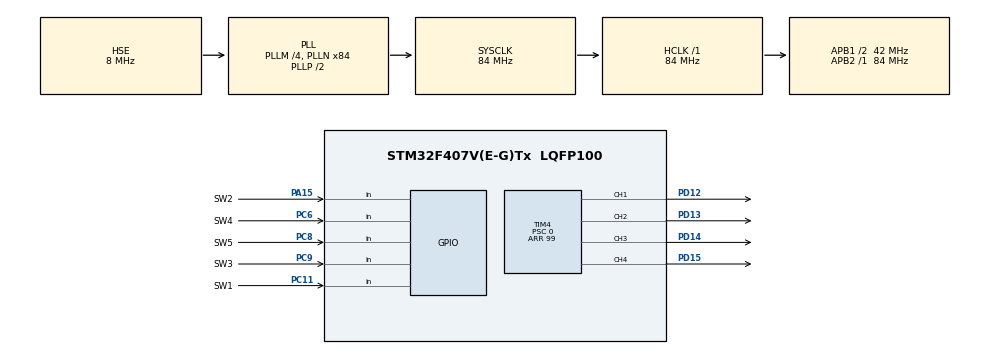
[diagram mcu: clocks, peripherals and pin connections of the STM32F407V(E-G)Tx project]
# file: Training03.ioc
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Mcu.Family=STM32F4
Mcu.Name=STM32F407V(E-G)Tx
Mcu.Package=LQFP100
NVIC.PriorityGroup=NVIC_PRIORITYGROUP_4
PA15.GPIO_Label=SW2
PA15.GPIO_PuPd=GPIO_PULLUP
PA15.Signal=GPIO_Input
PC11.GPIO_Label=SW1
PC11.GPIO_PuPd=GPIO_PULLUP
PC11.Signal=GPIO_Input
PC6.GPIO_Label=SW4
PC6.GPIO_PuPd=GPIO_PULLUP
PC6.Signal=GPIO_Input
PC8.GPIO_Label=SW5
PC8.GPIO_PuPd=GPIO_PULLUP
PC8.Signal=GPIO_Input
PC9.GPIO_Label=SW3
PC9.GPIO_PuPd=GPIO_PULLUP
PC9.Signal=GPIO_Input
PD12.GPIO_PuPd=GPIO_PULLDOWN
PD12.GPIO_Speed=GPIO_SPEED_FREQ_LOW
PD12.Signal=S_TIM4_CH1
PD13.GPIO_PuPd=GPIO_PULLDOWN
PD13.GPIO_Speed=GPIO_SPEED_FREQ_LOW
PD13.Signal=S_TIM4_CH2
PD14.GPIO_PuPd=GPIO_PULLDOWN
PD14.GPIO_Speed=GPIO_SPEED_FREQ_LOW
PD14.Signal=S_TIM4_CH3
PD15.GPIO_PuPd=GPIO_PULLDOWN
PD15.GPIO_Speed=GPIO_SPEED_FREQ_LOW
PD15.Signal=S_TIM4_CH4
PH0-OSC_IN.Mode=HSE-External-Oscillator
PH0-OSC_IN.Signal=RCC_OSC_IN
PH1-OSC_OUT.Mode=HSE-External-Oscillator
PH1-OSC_OUT.Signal=RCC_OSC_OUT
ProjectManager.HeapSize=0x200
ProjectManager.StackSize=0x400
ProjectManager.TargetToolchain=STM32CubeIDE
RCC.48MHZClocksFreq_Value=42000000
RCC.AHBFreq_Value=84000000
RCC.APB1CLKDivider=RCC_HCLK_DIV2
RCC.APB1Freq_Value=42000000
RCC.APB1TimFreq_Value=84000000
RCC.APB2Freq_Value=84000000
RCC.APB2TimFreq_Value=84000000
RCC.CortexFreq_Value=84000000
RCC.HCLKFreq_Value=84000000
RCC.HSE_VALUE=8000000
RCC.HSI_VALUE=16000000
RCC.LSE_VALUE=32768
RCC.PLLM=4
RCC.PLLN=84
RCC.PLLSourceVirtual=RCC_PLLSOURCE_HSE
RCC.SYSCLKFreq_VALUE=84000000
RCC.SYSCLKSource=RCC_SYSCLKSOURCE_PLLCLK
RCC.VCOOutputFreq_Value=168000000
SH.S_TIM4_CH1.0=TIM4_CH1,PWM Generation1 CH1
SH.S_TIM4_CH2.0=TIM4_CH2,PWM Generation2 CH2
SH.S_TIM4_CH3.0=TIM4_CH3,PWM Generation3 CH3
SH.S_TIM4_CH4.0=TIM4_CH4,PWM Generation4 CH4
TIM4.Channel-PWM\ Generation1\ CH1=TIM_CHANNEL_1
TIM4.Channel-PWM\ Generation2\ CH2=TIM_CHANNEL_2
TIM4.Channel-PWM\ Generation3\ CH3=TIM_CHANNEL_3
TIM4.Channel-PWM\ Generation4\ CH4=TIM_CHANNEL_4
TIM4.OCPolarity_1=TIM_OCPOLARITY_HIGH
TIM4.OCPolarity_2=TIM_OCPOLARITY_HIGH
TIM4.OCPolarity_3=TIM_OCPOLARITY_HIGH
TIM4.OCPolarity_4=TIM_OCPOLARITY_HIGH
TIM4.Period=99
TIM4.Prescaler=0
TIM4.Pulse-PWM\ Generation2\ CH2=0
TIM4.Pulse-PWM\ Generation3\ CH3=0
TIM4.Pulse-PWM\ Generation4\ CH4=0
VP_TIM4_VS_ClockSourceINT.Mode=Internal
board=custom

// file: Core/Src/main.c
/* USER CODE BEGIN Header */
/**
  ******************************************************************************
  * @file           : main.c
  * @brief          : Main program body
  ******************************************************************************
  * @attention
  *
  * Copyright (c) 2023 STMicroelectronics.
  * All rights reserved.
  *
  * This software is licensed under terms that can be found in the LICENSE file
  * in the root directory of this software component.
  * If no LICENSE file comes with this software, it is provided AS-IS.
  *
  ******************************************************************************
  */
/* USER CODE END Header */
#include "main.h"

/* USER CODE BEGIN Includes */
#include "pwm.h"
/* USER CODE END Includes */

/* USER CODE BEGIN PD */
#define FREQ_MIN 0      //0kHz, there is not any generation
#define FREQ_MAX 100000 //100kHz
#define TMR4_FREQUENCY 84000000 //depends on clock settings
#define PRESS_NUM 100   //less than 1024!! (the time we have to press a button)
/* USER CODE END PD */

TIM_HandleTypeDef htim4;

/* USER CODE BEGIN PV */
const uint32_t FREQMIN=FREQ_MIN;             //PWM parameter
const uint32_t FREQMAX=FREQ_MAX;             //PWM parameter
const uint32_t TMR4FREQUENCY=TMR4_FREQUENCY; //frequency of tim4 clock
const uint32_t PRESSNUM=PRESS_NUM;
PWM TIMERSETTINGS;                           //this structure contains PWM settings
PWM* pTIMERSETTINGS=&TIMERSETTINGS;          //pointer
/* USER CODE END PV */

void SystemClock_Config(void);
static void MX_GPIO_Init(void);
static void MX_TIM4_Init(void);

int main(void)
{

  /* MCU Configuration--------------------------------------------------------*/

  /* Reset of all peripherals, Initializes the Flash interface and the Systick. */
  HAL_Init();

  /* Configure the system clock */
  SystemClock_Config();

  /* Initialize all configured peripherals */
  MX_GPIO_Init();
  MX_TIM4_Init();

  /* Infinite loop */
  /* USER CODE BEGIN WHILE */
/*------------Default PWM setup-----------------*/
  TIMERSETTINGS.Channel=TIM_CHANNEL_1;
  TIMERSETTINGS.Frequency=50000;
  TIMERSETTINGS.DutyCycle=50;
  {
  uint16_t ARRvalue=(uint16_t)(TMR4FREQUENCY/pTIMERSETTINGS->Frequency)-1;
  uint32_t CCRvalue=(uint16_t)(((pTIMERSETTINGS->DutyCycle)*(ARRvalue+1))/100);
  TIM4->ARR=ARRvalue;
  TIM4->CCR1=CCRvalue;
  HAL_TIM_PWM_Start(&htim4, pTIMERSETTINGS->Channel);
  } //the end of default PWM setup
  while (1)
  {
	  ButtonsHandler(htim4);
    /* USER CODE END WHILE */

  }
}

void SystemClock_Config(void)
{
  RCC_OscInitTypeDef RCC_OscInitStruct = {0};
  RCC_ClkInitTypeDef RCC_ClkInitStruct = {0};

  /** Configure the main internal regulator output voltage
  */
  __HAL_RCC_PWR_CLK_ENABLE();
  __HAL_PWR_VOLTAGESCALING_CONFIG(PWR_REGULATOR_VOLTAGE_SCALE1);

  /** Initializes the RCC Oscillators according to the specified parameters
  * in the RCC_OscInitTypeDef structure.
  */
  RCC_OscInitStruct.OscillatorType = RCC_OSCILLATORTYPE_HSE;
  RCC_OscInitStruct.HSEState = RCC_HSE_ON;
  RCC_OscInitStruct.PLL.PLLState = RCC_PLL_ON;
  RCC_OscInitStruct.PLL.PLLSource = RCC_PLLSOURCE_HSE;
  RCC_OscInitStruct.PLL.PLLM = 4;
  RCC_OscInitStruct.PLL.PLLN = 84;
  RCC_OscInitStruct.PLL.PLLP = RCC_PLLP_DIV2;
  RCC_OscInitStruct.PLL.PLLQ = 4;
  if (HAL_RCC_OscConfig(&RCC_OscInitStruct) != HAL_OK)
  {
    Error_Handler();
  }

  /** Initializes the CPU, AHB and APB buses clocks
  */
  RCC_ClkInitStruct.ClockType = RCC_CLOCKTYPE_HCLK|RCC_CLOCKTYPE_SYSCLK
                              |RCC_CLOCKTYPE_PCLK1|RCC_CLOCKTYPE_PCLK2;
  RCC_ClkInitStruct.SYSCLKSource = RCC_SYSCLKSOURCE_PLLCLK;
  RCC_ClkInitStruct.AHBCLKDivider = RCC_SYSCLK_DIV1;
  RCC_ClkInitStruct.APB1CLKDivider = RCC_HCLK_DIV2;
  RCC_ClkInitStruct.APB2CLKDivider = RCC_HCLK_DIV1;

  if (HAL_RCC_ClockConfig(&RCC_ClkInitStruct, FLASH_LATENCY_2) != HAL_OK)
  {
    Error_Handler();
  }
}

static void MX_TIM4_Init(void)
{

  TIM_ClockConfigTypeDef sClockSourceConfig = {0};
  TIM_MasterConfigTypeDef sMasterConfig = {0};
  TIM_OC_InitTypeDef sConfigOC = {0};

  htim4.Instance = TIM4;
  htim4.Init.Prescaler = 0;
  htim4.Init.CounterMode = TIM_COUNTERMODE_UP;
  htim4.Init.Period = 99;
  htim4.Init.ClockDivision = TIM_CLOCKDIVISION_DIV1;
  htim4.Init.AutoReloadPreload = TIM_AUTORELOAD_PRELOAD_DISABLE;
  if (HAL_TIM_Base_Init(&htim4) != HAL_OK)
  {
    Error_Handler();
  }
  sClockSourceConfig.ClockSource = TIM_CLOCKSOURCE_INTERNAL;
  if (HAL_TIM_ConfigClockSource(&htim4, &sClockSourceConfig) != HAL_OK)
  {
    Error_Handler();
  }
  if (HAL_TIM_PWM_Init(&htim4) != HAL_OK)
  {
    Error_Handler();
  }
  sMasterConfig.MasterOutputTrigger = TIM_TRGO_RESET;
  sMasterConfig.MasterSlaveMode = TIM_MASTERSLAVEMODE_DISABLE;
  if (HAL_TIMEx_MasterConfigSynchronization(&htim4, &sMasterConfig) != HAL_OK)
  {
    Error_Handler();
  }
  sConfigOC.OCMode = TIM_OCMODE_PWM1;
  sConfigOC.Pulse = 0;
  sConfigOC.OCPolarity = TIM_OCPOLARITY_HIGH;
  sConfigOC.OCFastMode = TIM_OCFAST_DISABLE;
  if (HAL_TIM_PWM_ConfigChannel(&htim4, &sConfigOC, TIM_CHANNEL_1) != HAL_OK)
  {
    Error_Handler();
  }
  if (HAL_TIM_PWM_ConfigChannel(&htim4, &sConfigOC, TIM_CHANNEL_2) != HAL_OK)
  {
    Error_Handler();
  }
  if (HAL_TIM_PWM_ConfigChannel(&htim4, &sConfigOC, TIM_CHANNEL_3) != HAL_OK)
  {
    Error_Handler();
  }
  if (HAL_TIM_PWM_ConfigChannel(&htim4, &sConfigOC, TIM_CHANNEL_4) != HAL_OK)
  {
    Error_Handler();
  }
  HAL_TIM_MspPostInit(&htim4);

}

static void MX_GPIO_Init(void)
{
  GPIO_InitTypeDef GPIO_InitStruct = {0};

  /* GPIO Ports Clock Enable */
  __HAL_RCC_GPIOH_CLK_ENABLE();
  __HAL_RCC_GPIOD_CLK_ENABLE();
  __HAL_RCC_GPIOC_CLK_ENABLE();
  __HAL_RCC_GPIOA_CLK_ENABLE();

  /*Configure GPIO pins : SW4_Pin SW5_Pin SW3_Pin SW1_Pin */
  GPIO_InitStruct.Pin = SW4_Pin|SW5_Pin|SW3_Pin|SW1_Pin;
  GPIO_InitStruct.Mode = GPIO_MODE_INPUT;
  GPIO_InitStruct.Pull = GPIO_PULLUP;
  HAL_GPIO_Init(GPIOC, &GPIO_InitStruct);

  /*Configure GPIO pin : SW2_Pin */
  GPIO_InitStruct.Pin = SW2_Pin;
  GPIO_InitStruct.Mode = GPIO_MODE_INPUT;
  GPIO_InitStruct.Pull = GPIO_PULLUP;
  HAL_GPIO_Init(SW2_GPIO_Port, &GPIO_InitStruct);

}

/* USER CODE BEGIN 4 */

void HAL_GPIO_EXTI_Callback(uint16_t GPIO_Pin)
{/*
	//HAL_TIM_PWM_Stop(&htim4, TIM_CHANNEL_ALL); // !!!!!!!!!!!!! IT DOESN'T WORK!!!!!!!!!!!!!!!
	HAL_TIM_PWM_Stop(&htim4, TIM_CHANNEL_1);
	HAL_TIM_PWM_Stop(&htim4, TIM_CHANNEL_2);
	HAL_TIM_PWM_Stop(&htim4, TIM_CHANNEL_3);
	HAL_TIM_PWM_Stop(&htim4, TIM_CHANNEL_4);

	switch (GPIO_Pin)
	    {
	    case SW1_Pin:
	      SW1Handler(htim4, pTIMERSETTINGS); //this button decreases a frequency
	      break;
	    case SW2_Pin:
	      SW2Handler(htim4, pTIMERSETTINGS); //this button selects the signal output
	      break;
	    case SW3_Pin:
	      SW3Handler(htim4, pTIMERSETTINGS); //this button increases a frequency
	      break;
	    case SW4_Pin:
	      SW4Handler(htim4, pTIMERSETTINGS); //this button increases the duty cycle
	      break;
	    case SW5_Pin:
	      SW5Handler(htim4, pTIMERSETTINGS); //this button decreases the duty cycle
	      break;
	    default:
	     break;
	    }
	Tim4ReInit(htim4, pTIMERSETTINGS);*/
}

/* USER CODE END 4 */

void Error_Handler(void)
{
  __disable_irq();
  while (1)
  {
  }
}
